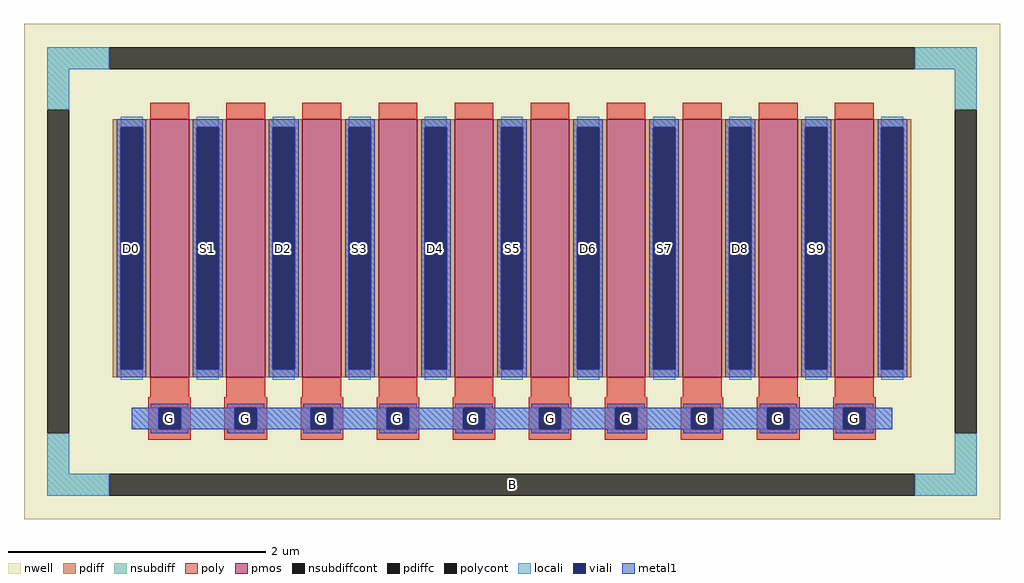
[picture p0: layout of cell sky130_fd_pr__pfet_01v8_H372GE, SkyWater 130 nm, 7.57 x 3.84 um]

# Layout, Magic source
magic
tech sky130A
magscale 1 2
<< nwell >>
rect -757 -384 757 384
<< pmos >>
rect -561 -164 -501 236
rect -443 -164 -383 236
rect -325 -164 -265 236
rect -207 -164 -147 236
rect -89 -164 -29 236
rect 29 -164 89 236
rect 147 -164 207 236
rect 265 -164 325 236
rect 383 -164 443 236
rect 501 -164 561 236
<< pdiff >>
rect -619 224 -561 236
rect -619 -152 -607 224
rect -573 -152 -561 224
rect -619 -164 -561 -152
rect -501 224 -443 236
rect -501 -152 -489 224
rect -455 -152 -443 224
rect -501 -164 -443 -152
rect -383 224 -325 236
rect -383 -152 -371 224
rect -337 -152 -325 224
rect -383 -164 -325 -152
rect -265 224 -207 236
rect -265 -152 -253 224
rect -219 -152 -207 224
rect -265 -164 -207 -152
rect -147 224 -89 236
rect -147 -152 -135 224
rect -101 -152 -89 224
rect -147 -164 -89 -152
rect -29 224 29 236
rect -29 -152 -17 224
rect 17 -152 29 224
rect -29 -164 29 -152
rect 89 224 147 236
rect 89 -152 101 224
rect 135 -152 147 224
rect 89 -164 147 -152
rect 207 224 265 236
rect 207 -152 219 224
rect 253 -152 265 224
rect 207 -164 265 -152
rect 325 224 383 236
rect 325 -152 337 224
rect 371 -152 383 224
rect 325 -164 383 -152
rect 443 224 501 236
rect 443 -152 455 224
rect 489 -152 501 224
rect 443 -164 501 -152
rect 561 224 619 236
rect 561 -152 573 224
rect 607 -152 619 224
rect 561 -164 619 -152
<< pdiffc >>
rect -607 -152 -573 224
rect -489 -152 -455 224
rect -371 -152 -337 224
rect -253 -152 -219 224
rect -135 -152 -101 224
rect -17 -152 17 224
rect 101 -152 135 224
rect 219 -152 253 224
rect 337 -152 371 224
rect 455 -152 489 224
rect 573 -152 607 224
<< nsubdiff >>
rect -721 314 -625 348
rect 625 314 721 348
rect -721 251 -687 314
rect 687 251 721 314
rect -721 -314 -687 -251
rect 687 -314 721 -251
rect -721 -348 -625 -314
rect 625 -348 721 -314
<< nsubdiffcont >>
rect -625 314 625 348
rect -721 -251 -687 251
rect 687 -251 721 251
rect -625 -348 625 -314
<< poly >>
rect -561 236 -501 262
rect -443 236 -383 262
rect -325 236 -265 262
rect -207 236 -147 262
rect -89 236 -29 262
rect 29 236 89 262
rect 147 236 207 262
rect 265 236 325 262
rect 383 236 443 262
rect 501 236 561 262
rect -561 -195 -501 -164
rect -443 -195 -383 -164
rect -325 -195 -265 -164
rect -207 -195 -147 -164
rect -89 -195 -29 -164
rect 29 -195 89 -164
rect 147 -195 207 -164
rect 265 -195 325 -164
rect 383 -195 443 -164
rect 501 -195 561 -164
rect -564 -211 -498 -195
rect -564 -245 -548 -211
rect -514 -245 -498 -211
rect -564 -261 -498 -245
rect -446 -211 -380 -195
rect -446 -245 -430 -211
rect -396 -245 -380 -211
rect -446 -261 -380 -245
rect -328 -211 -262 -195
rect -328 -245 -312 -211
rect -278 -245 -262 -211
rect -328 -261 -262 -245
rect -210 -211 -144 -195
rect -210 -245 -194 -211
rect -160 -245 -144 -211
rect -210 -261 -144 -245
rect -92 -211 -26 -195
rect -92 -245 -76 -211
rect -42 -245 -26 -211
rect -92 -261 -26 -245
rect 26 -211 92 -195
rect 26 -245 42 -211
rect 76 -245 92 -211
rect 26 -261 92 -245
rect 144 -211 210 -195
rect 144 -245 160 -211
rect 194 -245 210 -211
rect 144 -261 210 -245
rect 262 -211 328 -195
rect 262 -245 278 -211
rect 312 -245 328 -211
rect 262 -261 328 -245
rect 380 -211 446 -195
rect 380 -245 396 -211
rect 430 -245 446 -211
rect 380 -261 446 -245
rect 498 -211 564 -195
rect 498 -245 514 -211
rect 548 -245 564 -211
rect 498 -261 564 -245
<< polycont >>
rect -548 -245 -514 -211
rect -430 -245 -396 -211
rect -312 -245 -278 -211
rect -194 -245 -160 -211
rect -76 -245 -42 -211
rect 42 -245 76 -211
rect 160 -245 194 -211
rect 278 -245 312 -211
rect 396 -245 430 -211
rect 514 -245 548 -211
<< locali >>
rect -721 314 -625 348
rect 625 314 721 348
rect -721 251 -687 314
rect 687 251 721 314
rect -607 224 -573 240
rect -607 -168 -573 -152
rect -489 224 -455 240
rect -489 -168 -455 -152
rect -371 224 -337 240
rect -371 -168 -337 -152
rect -253 224 -219 240
rect -253 -168 -219 -152
rect -135 224 -101 240
rect -135 -168 -101 -152
rect -17 224 17 240
rect -17 -168 17 -152
rect 101 224 135 240
rect 101 -168 135 -152
rect 219 224 253 240
rect 219 -168 253 -152
rect 337 224 371 240
rect 337 -168 371 -152
rect 455 224 489 240
rect 455 -168 489 -152
rect 573 224 607 240
rect 573 -168 607 -152
rect -590 -245 -548 -211
rect -514 -245 -430 -211
rect -396 -245 -312 -211
rect -278 -245 -194 -211
rect -160 -245 -76 -211
rect -42 -245 42 -211
rect 76 -245 160 -211
rect 194 -245 278 -211
rect 312 -245 396 -211
rect 430 -245 514 -211
rect 548 -245 590 -211
rect -721 -314 -687 -251
rect 687 -314 721 -251
rect -721 -348 -625 -314
rect 625 -348 721 -314
<< viali >>
rect -607 -152 -573 224
rect -489 -152 -455 224
rect -371 -152 -337 224
rect -253 -152 -219 224
rect -135 -152 -101 224
rect -17 -152 17 224
rect 101 -152 135 224
rect 219 -152 253 224
rect 337 -152 371 224
rect 455 -152 489 224
rect 573 -152 607 224
rect -548 -245 -514 -211
rect -430 -245 -396 -211
rect -312 -245 -278 -211
rect -194 -245 -160 -211
rect -76 -245 -42 -211
rect 42 -245 76 -211
rect 160 -245 194 -211
rect 278 -245 312 -211
rect 396 -245 430 -211
rect 514 -245 548 -211
<< metal1 >>
rect -613 224 -567 236
rect -613 -152 -607 224
rect -573 -152 -567 224
rect -613 -164 -567 -152
rect -495 224 -449 236
rect -495 -152 -489 224
rect -455 -152 -449 224
rect -495 -164 -449 -152
rect -377 224 -331 236
rect -377 -152 -371 224
rect -337 -152 -331 224
rect -377 -164 -331 -152
rect -259 224 -213 236
rect -259 -152 -253 224
rect -219 -152 -213 224
rect -259 -164 -213 -152
rect -141 224 -95 236
rect -141 -152 -135 224
rect -101 -152 -95 224
rect -141 -164 -95 -152
rect -23 224 23 236
rect -23 -152 -17 224
rect 17 -152 23 224
rect -23 -164 23 -152
rect 95 224 141 236
rect 95 -152 101 224
rect 135 -152 141 224
rect 95 -164 141 -152
rect 213 224 259 236
rect 213 -152 219 224
rect 253 -152 259 224
rect 213 -164 259 -152
rect 331 224 377 236
rect 331 -152 337 224
rect 371 -152 377 224
rect 331 -164 377 -152
rect 449 224 495 236
rect 449 -152 455 224
rect 489 -152 495 224
rect 449 -164 495 -152
rect 567 224 613 236
rect 567 -152 573 224
rect 607 -152 613 224
rect 567 -164 613 -152
rect -560 -211 -502 -205
rect -442 -211 -384 -205
rect -324 -211 -266 -205
rect -206 -211 -148 -205
rect -88 -211 -30 -205
rect 30 -211 88 -205
rect 148 -211 206 -205
rect 266 -211 324 -205
rect 384 -211 442 -205
rect 502 -211 560 -205
rect -590 -245 -548 -211
rect -514 -245 -430 -211
rect -396 -245 -312 -211
rect -278 -245 -194 -211
rect -160 -245 -76 -211
rect -42 -245 42 -211
rect 76 -245 160 -211
rect 194 -245 278 -211
rect 312 -245 396 -211
rect 430 -245 514 -211
rect 548 -245 590 -211
rect -560 -251 -502 -245
rect -442 -251 -384 -245
rect -324 -251 -266 -245
rect -206 -251 -148 -245
rect -88 -251 -30 -245
rect 30 -251 88 -245
rect 148 -251 206 -245
rect 266 -251 324 -245
rect 384 -251 442 -245
rect 502 -251 560 -245
<< labels >>
rlabel nsubdiffcont 0 -331 0 -331 0 B
port 1 nsew
rlabel pdiffc -590 36 -590 36 0 D0
port 2 nsew
rlabel polycont -531 -228 -531 -228 0 G
port 3 nsew
rlabel pdiffc -472 36 -472 36 0 S1
port 4 nsew
rlabel polycont -413 -228 -413 -228 0 G
port 3 nsew
rlabel pdiffc -354 36 -354 36 0 D2
port 5 nsew
rlabel polycont -295 -228 -295 -228 0 G
port 3 nsew
rlabel pdiffc -236 36 -236 36 0 S3
port 6 nsew
rlabel polycont -177 -228 -177 -228 0 G
port 3 nsew
rlabel pdiffc -118 36 -118 36 0 D4
port 7 nsew
rlabel polycont -59 -228 -59 -228 0 G
port 3 nsew
rlabel pdiffc 0 36 0 36 0 S5
port 8 nsew
rlabel polycont 59 -228 59 -228 0 G
port 3 nsew
rlabel pdiffc 118 36 118 36 0 D6
port 9 nsew
rlabel polycont 177 -228 177 -228 0 G
port 3 nsew
rlabel pdiffc 236 36 236 36 0 S7
port 10 nsew
rlabel polycont 295 -228 295 -228 0 G
port 3 nsew
rlabel pdiffc 354 36 354 36 0 D8
port 11 nsew
rlabel polycont 413 -228 413 -228 0 G
port 3 nsew
rlabel pdiffc 472 36 472 36 0 S9
port 12 nsew
rlabel polycont 531 -228 531 -228 0 G
port 3 nsew
<< properties >>
string FIXED_BBOX -704 -331 704 331
string gencell sky130_fd_pr__pfet_01v8
string library sky130
string parameters w 2 l 0.3 m 1 nf 10 diffcov 100 polycov 100 guard 1 glc 1 grc 1 gtc 1 gbc 1 tbcov 100 rlcov 100 topc 0 botc 1 poverlap 0 doverlap 1 lmin 0.15 wmin 0.42 class mosfet compatible {sky130_fd_pr__pfet_01v8  sky130_fd_pr__pfet_01v8_lvt sky130_fd_pr__pfet_01v8_hvt  sky130_fd_pr__pfet_g5v0d10v5} full_metal 1 conn_gates 1 viasrc 100 viadrn 100 viagate 100 viagb 0 viagr 0 viagl 0 viagt 0 doports 1
<< end >>
